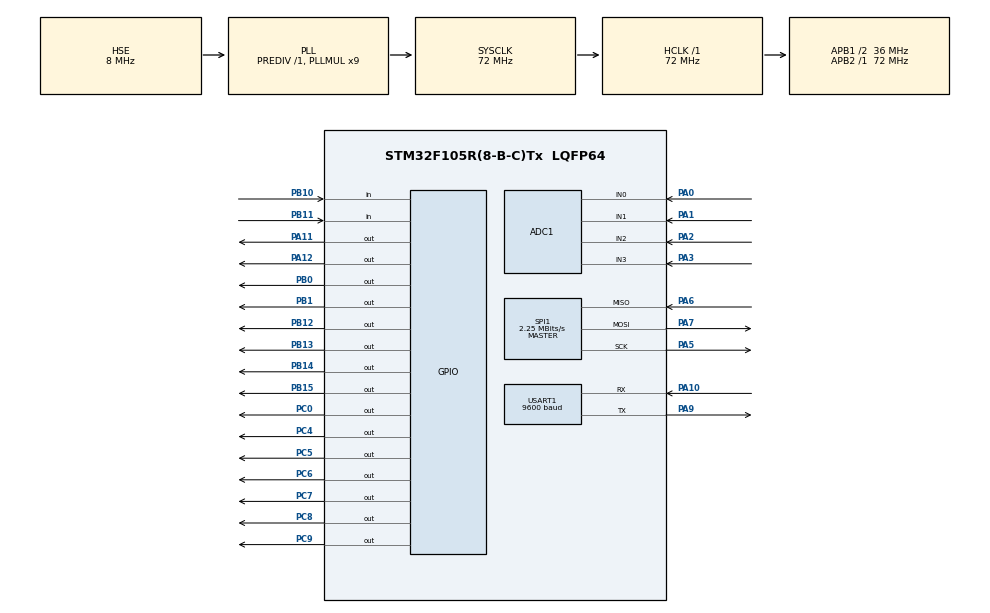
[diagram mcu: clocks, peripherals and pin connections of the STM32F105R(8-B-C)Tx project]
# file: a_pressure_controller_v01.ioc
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ADC1.Channel-5\#ChannelRegularConversion=ADC_CHANNEL_0
ADC1.Channel-6\#ChannelInjectedConversion=ADC_CHANNEL_0
ADC1.Channel-7\#ChannelInjectedConversion=ADC_CHANNEL_1
ADC1.Channel-8\#ChannelInjectedConversion=ADC_CHANNEL_2
ADC1.Channel-9\#ChannelInjectedConversion=ADC_CHANNEL_3
ADC1.EnableInjectedConversion=ENABLE
ADC1.InjNumberOfConversion=4
ADC1.InjectedOffset-6\#ChannelInjectedConversion=0
ADC1.InjectedOffset-7\#ChannelInjectedConversion=0
ADC1.InjectedOffset-8\#ChannelInjectedConversion=0
ADC1.InjectedOffset-9\#ChannelInjectedConversion=0
ADC1.NbrOfConversionFlag=1
ADC1.Rank-5\#ChannelRegularConversion=1
ADC1.Rank-6\#ChannelInjectedConversion=1
ADC1.Rank-7\#ChannelInjectedConversion=2
ADC1.Rank-8\#ChannelInjectedConversion=3
ADC1.Rank-9\#ChannelInjectedConversion=4
ADC1.SamplingTime-5\#ChannelRegularConversion=ADC_SAMPLETIME_1CYCLE_5
ADC1.SamplingTime-6\#ChannelInjectedConversion=ADC_SAMPLETIME_71CYCLES_5
ADC1.SamplingTime-7\#ChannelInjectedConversion=ADC_SAMPLETIME_71CYCLES_5
ADC1.SamplingTime-8\#ChannelInjectedConversion=ADC_SAMPLETIME_71CYCLES_5
ADC1.SamplingTime-9\#ChannelInjectedConversion=ADC_SAMPLETIME_71CYCLES_5
ADC1.master=1
Dma.Request0=USART1_TX
Dma.USART1_TX.0.Direction=DMA_MEMORY_TO_PERIPH
Dma.USART1_TX.0.Instance=DMA1_Channel4
Dma.USART1_TX.0.MemDataAlignment=DMA_MDATAALIGN_BYTE
Dma.USART1_TX.0.MemInc=DMA_MINC_ENABLE
Dma.USART1_TX.0.Mode=DMA_NORMAL
Dma.USART1_TX.0.PeriphDataAlignment=DMA_PDATAALIGN_BYTE
Dma.USART1_TX.0.PeriphInc=DMA_PINC_DISABLE
Dma.USART1_TX.0.Priority=DMA_PRIORITY_LOW
FREERTOS.Tasks01=defaultTask,0,128,StartDefaultTask,Default,NULL
FREERTOS.configTOTAL_HEAP_SIZE=20000
Mcu.Family=STM32F1
Mcu.Name=STM32F105R(8-B-C)Tx
Mcu.Package=LQFP64
NVIC.ADC1_2_IRQn=true\:5\:0\:false\:false\:true\:true\:true\:true
NVIC.DMA1_Channel4_IRQn=true\:5\:0\:false\:false\:true\:true\:false\:true
NVIC.PriorityGroup=NVIC_PRIORITYGROUP_4
NVIC.SPI1_IRQn=true\:5\:0\:false\:false\:true\:true\:true\:true
NVIC.USART1_IRQn=true\:5\:0\:false\:false\:true\:true\:true\:true
PA0-WKUP.Signal=ADCx_IN0
PA1.Signal=ADCx_IN1
PA10.Mode=Asynchronous
PA10.Signal=USART1_RX
PA11.GPIO_Speed=GPIO_SPEED_FREQ_MEDIUM
PA11.PinState=GPIO_PIN_SET
PA11.Signal=GPIO_Output
PA12.Signal=GPIO_Output
PA13.Mode=Serial_Wire
PA13.Signal=SYS_JTMS-SWDIO
PA14.Mode=Serial_Wire
PA14.Signal=SYS_JTCK-SWCLK
PA2.Signal=ADCx_IN2
PA3.Signal=ADCx_IN3
PA5.Mode=Full_Duplex_Master
PA5.Signal=SPI1_SCK
PA6.Mode=Full_Duplex_Master
PA6.Signal=SPI1_MISO
PA7.Mode=Full_Duplex_Master
PA7.Signal=SPI1_MOSI
PA9.Mode=Asynchronous
PA9.Signal=USART1_TX
PB0.PinState=GPIO_PIN_SET
PB0.Signal=GPIO_Output
PB1.PinState=GPIO_PIN_SET
PB1.Signal=GPIO_Output
PB10.Signal=GPIO_Input
PB11.Signal=GPIO_Input
PB12.GPIO_Speed=GPIO_SPEED_FREQ_MEDIUM
PB12.Signal=GPIO_Output
PB13.GPIO_Speed=GPIO_SPEED_FREQ_MEDIUM
PB13.Signal=GPIO_Output
PB14.GPIO_Speed=GPIO_SPEED_FREQ_MEDIUM
PB14.Signal=GPIO_Output
PB15.GPIO_Speed=GPIO_SPEED_FREQ_MEDIUM
PB15.Signal=GPIO_Output
PC0.GPIO_Speed=GPIO_SPEED_FREQ_MEDIUM
PC0.Signal=GPIO_Output
PC4.PinState=GPIO_PIN_SET
PC4.Signal=GPIO_Output
PC5.PinState=GPIO_PIN_SET
PC5.Signal=GPIO_Output
PC6.GPIO_Speed=GPIO_SPEED_FREQ_MEDIUM
PC6.Signal=GPIO_Output
PC7.GPIO_Speed=GPIO_SPEED_FREQ_MEDIUM
PC7.Signal=GPIO_Output
PC8.GPIO_Speed=GPIO_SPEED_FREQ_MEDIUM
PC8.Signal=GPIO_Output
PC9.GPIO_Speed=GPIO_SPEED_FREQ_MEDIUM
PC9.Signal=GPIO_Output
PD0-OSC_IN.Mode=HSE-External-Oscillator
PD0-OSC_IN.Signal=RCC_OSC_IN
PD1-OSC_OUT.Mode=HSE-External-Oscillator
PD1-OSC_OUT.Signal=RCC_OSC_OUT
ProjectManager.HeapSize=0x200
ProjectManager.StackSize=0x400
ProjectManager.TargetToolchain=TrueSTUDIO
RCC.ADCPresc=RCC_ADCPCLK2_DIV6
RCC.AHBFreq_Value=72000000
RCC.APB1CLKDivider=RCC_HCLK_DIV2
RCC.APB1Freq_Value=36000000
RCC.APB1TimFreq_Value=72000000
RCC.APB2Freq_Value=72000000
RCC.APB2TimFreq_Value=72000000
RCC.HCLKFreq_Value=72000000
RCC.PLLMUL=RCC_PLL_MUL9
RCC.PLLSourceVirtual=RCC_PLLSOURCE_HSE
RCC.SYSCLKFreq_VALUE=72000000
RCC.SYSCLKSource=RCC_SYSCLKSOURCE_PLLCLK
RCC.USBFreq_Value=48000000
SH.ADCx_IN0.0=ADC1_IN0,IN0
SH.ADCx_IN1.0=ADC1_IN1,IN1
SH.ADCx_IN2.0=ADC1_IN2,IN2
SH.ADCx_IN3.0=ADC1_IN3,IN3
SPI1.BaudRatePrescaler=SPI_BAUDRATEPRESCALER_32
SPI1.CalculateBaudRate=2.25 MBits/s
SPI1.Direction=SPI_DIRECTION_2LINES
SPI1.Mode=SPI_MODE_MASTER
SPI1.VirtualType=VM_MASTER
USART1.BaudRate=9600
USART1.VirtualMode=VM_ASYNC
VP_FREERTOS_VS_CMSIS_V1.Mode=CMSIS_V1
board=custom

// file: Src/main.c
/* USER CODE BEGIN Header */
/**
  ******************************************************************************
  * @file           : main.c
  * @brief          : Main program body
  ******************************************************************************
  * @attention
  *
  * <h2><center>&copy; Copyright (c) 2019 STMicroelectronics.
  * All rights reserved.</center></h2>
  *
  * This software component is licensed by ST under Ultimate Liberty license
  * SLA0044, the "License"; You may not use this file except in compliance with
  * the License. You may obtain a copy of the License at:
  *                             www.st.com/SLA0044
  *
  ******************************************************************************
  */
/* USER CODE END Header */

#include "main.h"
#include "cmsis_os.h"

/* USER CODE BEGIN Includes */
#include "structures.h"
#include "controllerInit.h"
#include "controllerUtils.h"

#include "eeprom_driver.h"
#include "flashFunctions.h"
/* USER CODE END Includes */

ADC_HandleTypeDef hadc1;

SPI_HandleTypeDef hspi1;

UART_HandleTypeDef huart1;
DMA_HandleTypeDef hdma_usart1_tx;

osThreadId defaultTaskHandle;
/* USER CODE BEGIN PV */
GPIO_TypeDef * UP_PORT[4] = {C1_UP_PORT, C2_UP_PORT, C3_UP_PORT, C4_UP_PORT};
uint32_t UP_PIN[4] = {C1_UP_PIN, C2_UP_PIN, C3_UP_PIN, C4_UP_PIN};
GPIO_TypeDef * DOWN_PORT[4] = {C1_DOWN_PORT, C2_DOWN_PORT, C3_DOWN_PORT, C4_DOWN_PORT};
uint32_t DOWN_PIN[4] = {C1_DOWN_PIN, C2_DOWN_PIN, C3_DOWN_PIN, C4_DOWN_PIN};

uint16_t ADCRawData[4];
uint16_t sensorValue[4];

char message[128] = {0};
uint8_t messageLength = 0;

uint8_t recCommandBuffer[MAX_COMMAND_LENGTH];
uint8_t p_recCommandBuffer = 0;
uint8_t recCommandByte;
uint8_t commandToProcessBuffer[MAX_COMMAND_LENGTH];
uint8_t p_commandToProcessBuffer;

xQueueHandle xRecCommandQueue;
xSemaphoreHandle xPressureCompensationSemaphore;
xSemaphoreHandle xSpiTxCompleteSemaphore;

/* USER CODE END PV */

void SystemClock_Config(void);
static void MX_GPIO_Init(void);
static void MX_DMA_Init(void);
static void MX_ADC1_Init(void);
static void MX_USART1_UART_Init(void);
static void MX_SPI1_Init(void);
void StartDefaultTask(void const * argument);

int main(void)
{

  /* MCU Configuration--------------------------------------------------------*/

  /* Reset of all peripherals, Initializes the Flash interface and the Systick. */
  HAL_Init();

  /* Configure the system clock */
  SystemClock_Config();

  /* Initialize all configured peripherals */
  MX_GPIO_Init();
  MX_DMA_Init();
  MX_ADC1_Init();
  MX_USART1_UART_Init();
  MX_SPI1_Init();
  /* USER CODE BEGIN 2 */
  HAL_Delay(2000);
  controller_init();
  /* USER CODE END 2 */

  /* Create the thread(s) */
  /* definition and creation of defaultTask */
//  osThreadDef(defaultTask, StartDefaultTask, osPriorityNormal, 0, 128);
//  defaultTaskHandle = osThreadCreate(osThread(defaultTask), NULL);

  /* Start scheduler */
  osKernelStart();

  /* We should never get here as control is now taken by the scheduler */
  /* Infinite loop */
  while (1)
  {

  }
}

void SystemClock_Config(void)
{
  RCC_OscInitTypeDef RCC_OscInitStruct = {0};
  RCC_ClkInitTypeDef RCC_ClkInitStruct = {0};
  RCC_PeriphCLKInitTypeDef PeriphClkInit = {0};

  /** Initializes the CPU, AHB and APB busses clocks
  */
  RCC_OscInitStruct.OscillatorType = RCC_OSCILLATORTYPE_HSE;
  RCC_OscInitStruct.HSEState = RCC_HSE_ON;
  RCC_OscInitStruct.HSEPredivValue = RCC_HSE_PREDIV_DIV1;
  RCC_OscInitStruct.HSIState = RCC_HSI_ON;
  RCC_OscInitStruct.Prediv1Source = RCC_PREDIV1_SOURCE_HSE;
  RCC_OscInitStruct.PLL.PLLState = RCC_PLL_ON;
  RCC_OscInitStruct.PLL.PLLSource = RCC_PLLSOURCE_HSE;
  RCC_OscInitStruct.PLL.PLLMUL = RCC_PLL_MUL9;
  RCC_OscInitStruct.PLL2.PLL2State = RCC_PLL_NONE;
  if (HAL_RCC_OscConfig(&RCC_OscInitStruct) != HAL_OK)
  {
    Error_Handler();
  }
  /** Initializes the CPU, AHB and APB busses clocks
  */
  RCC_ClkInitStruct.ClockType = RCC_CLOCKTYPE_HCLK|RCC_CLOCKTYPE_SYSCLK
                              |RCC_CLOCKTYPE_PCLK1|RCC_CLOCKTYPE_PCLK2;
  RCC_ClkInitStruct.SYSCLKSource = RCC_SYSCLKSOURCE_PLLCLK;
  RCC_ClkInitStruct.AHBCLKDivider = RCC_SYSCLK_DIV1;
  RCC_ClkInitStruct.APB1CLKDivider = RCC_HCLK_DIV2;
  RCC_ClkInitStruct.APB2CLKDivider = RCC_HCLK_DIV1;

  if (HAL_RCC_ClockConfig(&RCC_ClkInitStruct, FLASH_LATENCY_2) != HAL_OK)
  {
    Error_Handler();
  }
  PeriphClkInit.PeriphClockSelection = RCC_PERIPHCLK_ADC;
  PeriphClkInit.AdcClockSelection = RCC_ADCPCLK2_DIV6;
  if (HAL_RCCEx_PeriphCLKConfig(&PeriphClkInit) != HAL_OK)
  {
    Error_Handler();
  }
  /** Configure the Systick interrupt time
  */
  __HAL_RCC_PLLI2S_ENABLE();
}

static void MX_ADC1_Init(void)
{

  ADC_ChannelConfTypeDef sConfig = {0};
  ADC_InjectionConfTypeDef sConfigInjected = {0};

  /** Common config
  */
  hadc1.Instance = ADC1;
  hadc1.Init.ScanConvMode = ADC_SCAN_ENABLE;
  hadc1.Init.ContinuousConvMode = DISABLE;
  hadc1.Init.DiscontinuousConvMode = DISABLE;
  hadc1.Init.ExternalTrigConv = ADC_SOFTWARE_START;
  hadc1.Init.DataAlign = ADC_DATAALIGN_RIGHT;
  hadc1.Init.NbrOfConversion = 1;
  if (HAL_ADC_Init(&hadc1) != HAL_OK)
  {
    Error_Handler();
  }
  /** Configure Regular Channel
  */
  sConfig.Channel = ADC_CHANNEL_0;
  sConfig.Rank = ADC_REGULAR_RANK_1;
  sConfig.SamplingTime = ADC_SAMPLETIME_1CYCLE_5;
  if (HAL_ADC_ConfigChannel(&hadc1, &sConfig) != HAL_OK)
  {
    Error_Handler();
  }
  /** Configure Injected Channel
  */
  sConfigInjected.InjectedChannel = ADC_CHANNEL_0;
  sConfigInjected.InjectedRank = ADC_INJECTED_RANK_1;
  sConfigInjected.InjectedNbrOfConversion = 4;
  sConfigInjected.InjectedSamplingTime = ADC_SAMPLETIME_71CYCLES_5;
  sConfigInjected.ExternalTrigInjecConv = ADC_INJECTED_SOFTWARE_START;
  sConfigInjected.AutoInjectedConv = DISABLE;
  sConfigInjected.InjectedDiscontinuousConvMode = DISABLE;
  sConfigInjected.InjectedOffset = 0;
  if (HAL_ADCEx_InjectedConfigChannel(&hadc1, &sConfigInjected) != HAL_OK)
  {
    Error_Handler();
  }
  /** Configure Injected Channel
  */
  sConfigInjected.InjectedChannel = ADC_CHANNEL_1;
  sConfigInjected.InjectedRank = ADC_INJECTED_RANK_2;
  if (HAL_ADCEx_InjectedConfigChannel(&hadc1, &sConfigInjected) != HAL_OK)
  {
    Error_Handler();
  }
  /** Configure Injected Channel
  */
  sConfigInjected.InjectedChannel = ADC_CHANNEL_2;
  sConfigInjected.InjectedRank = ADC_INJECTED_RANK_3;
  if (HAL_ADCEx_InjectedConfigChannel(&hadc1, &sConfigInjected) != HAL_OK)
  {
    Error_Handler();
  }
  /** Configure Injected Channel
  */
  sConfigInjected.InjectedChannel = ADC_CHANNEL_3;
  sConfigInjected.InjectedRank = ADC_INJECTED_RANK_4;
  if (HAL_ADCEx_InjectedConfigChannel(&hadc1, &sConfigInjected) != HAL_OK)
  {
    Error_Handler();
  }

}

static void MX_SPI1_Init(void)
{

  /* SPI1 parameter configuration*/
  hspi1.Instance = SPI1;
  hspi1.Init.Mode = SPI_MODE_MASTER;
  hspi1.Init.Direction = SPI_DIRECTION_2LINES;
  hspi1.Init.DataSize = SPI_DATASIZE_8BIT;
  hspi1.Init.CLKPolarity = SPI_POLARITY_LOW;
  hspi1.Init.CLKPhase = SPI_PHASE_1EDGE;
  hspi1.Init.NSS = SPI_NSS_SOFT;
  hspi1.Init.BaudRatePrescaler = SPI_BAUDRATEPRESCALER_32;
  hspi1.Init.FirstBit = SPI_FIRSTBIT_MSB;
  hspi1.Init.TIMode = SPI_TIMODE_DISABLE;
  hspi1.Init.CRCCalculation = SPI_CRCCALCULATION_DISABLE;
  hspi1.Init.CRCPolynomial = 10;
  if (HAL_SPI_Init(&hspi1) != HAL_OK)
  {
    Error_Handler();
  }

}

static void MX_USART1_UART_Init(void)
{

  huart1.Instance = USART1;
  huart1.Init.BaudRate = 9600;
  huart1.Init.WordLength = UART_WORDLENGTH_8B;
  huart1.Init.StopBits = UART_STOPBITS_1;
  huart1.Init.Parity = UART_PARITY_NONE;
  huart1.Init.Mode = UART_MODE_TX_RX;
  huart1.Init.HwFlowCtl = UART_HWCONTROL_NONE;
  huart1.Init.OverSampling = UART_OVERSAMPLING_16;
  if (HAL_UART_Init(&huart1) != HAL_OK)
  {
    Error_Handler();
  }

}

static void MX_DMA_Init(void)
{

  /* DMA controller clock enable */
  __HAL_RCC_DMA1_CLK_ENABLE();

  /* DMA interrupt init */
  /* DMA1_Channel4_IRQn interrupt configuration */
  HAL_NVIC_SetPriority(DMA1_Channel4_IRQn, 5, 0);
  HAL_NVIC_EnableIRQ(DMA1_Channel4_IRQn);

}

static void MX_GPIO_Init(void)
{
  GPIO_InitTypeDef GPIO_InitStruct = {0};

  /* GPIO Ports Clock Enable */
  __HAL_RCC_GPIOD_CLK_ENABLE();
  __HAL_RCC_GPIOC_CLK_ENABLE();
  __HAL_RCC_GPIOA_CLK_ENABLE();
  __HAL_RCC_GPIOB_CLK_ENABLE();

  /*Configure GPIO pin Output Level */
  HAL_GPIO_WritePin(GPIOC, GPIO_PIN_0|GPIO_PIN_6|GPIO_PIN_7|GPIO_PIN_8
                          |GPIO_PIN_9, GPIO_PIN_RESET);

  /*Configure GPIO pin Output Level */
  HAL_GPIO_WritePin(GPIOC, GPIO_PIN_4|GPIO_PIN_5, GPIO_PIN_SET);

  /*Configure GPIO pin Output Level */
  HAL_GPIO_WritePin(GPIOB, GPIO_PIN_0|GPIO_PIN_1, GPIO_PIN_SET);

  /*Configure GPIO pin Output Level */
  HAL_GPIO_WritePin(GPIOB, GPIO_PIN_12|GPIO_PIN_13|GPIO_PIN_14|GPIO_PIN_15, GPIO_PIN_RESET);

  /*Configure GPIO pin Output Level */
  HAL_GPIO_WritePin(GPIOA, GPIO_PIN_11, GPIO_PIN_SET);

  /*Configure GPIO pin Output Level */
  HAL_GPIO_WritePin(GPIOA, GPIO_PIN_12, GPIO_PIN_RESET);

  /*Configure GPIO pins : PC0 PC6 PC7 PC8
                           PC9 */
  GPIO_InitStruct.Pin = GPIO_PIN_0|GPIO_PIN_6|GPIO_PIN_7|GPIO_PIN_8
                          |GPIO_PIN_9;
  GPIO_InitStruct.Mode = GPIO_MODE_OUTPUT_PP;
  GPIO_InitStruct.Pull = GPIO_NOPULL;
  GPIO_InitStruct.Speed = GPIO_SPEED_FREQ_MEDIUM;
  HAL_GPIO_Init(GPIOC, &GPIO_InitStruct);

  /*Configure GPIO pins : PC4 PC5 */
  GPIO_InitStruct.Pin = GPIO_PIN_4|GPIO_PIN_5;
  GPIO_InitStruct.Mode = GPIO_MODE_OUTPUT_PP;
  GPIO_InitStruct.Pull = GPIO_NOPULL;
  GPIO_InitStruct.Speed = GPIO_SPEED_FREQ_LOW;
  HAL_GPIO_Init(GPIOC, &GPIO_InitStruct);

  /*Configure GPIO pins : PB0 PB1 */
  GPIO_InitStruct.Pin = GPIO_PIN_0|GPIO_PIN_1;
  GPIO_InitStruct.Mode = GPIO_MODE_OUTPUT_PP;
  GPIO_InitStruct.Pull = GPIO_NOPULL;
  GPIO_InitStruct.Speed = GPIO_SPEED_FREQ_LOW;
  HAL_GPIO_Init(GPIOB, &GPIO_InitStruct);

  /*Configure GPIO pins : PB10 PB11 */
  GPIO_InitStruct.Pin = GPIO_PIN_10|GPIO_PIN_11;
  GPIO_InitStruct.Mode = GPIO_MODE_INPUT;
  GPIO_InitStruct.Pull = GPIO_NOPULL;
  HAL_GPIO_Init(GPIOB, &GPIO_InitStruct);

  /*Configure GPIO pins : PB12 PB13 PB14 PB15 */
  GPIO_InitStruct.Pin = GPIO_PIN_12|GPIO_PIN_13|GPIO_PIN_14|GPIO_PIN_15;
  GPIO_InitStruct.Mode = GPIO_MODE_OUTPUT_PP;
  GPIO_InitStruct.Pull = GPIO_NOPULL;
  GPIO_InitStruct.Speed = GPIO_SPEED_FREQ_MEDIUM;
  HAL_GPIO_Init(GPIOB, &GPIO_InitStruct);

  /*Configure GPIO pin : PA11 */
  GPIO_InitStruct.Pin = GPIO_PIN_11;
  GPIO_InitStruct.Mode = GPIO_MODE_OUTPUT_PP;
  GPIO_InitStruct.Pull = GPIO_NOPULL;
  GPIO_InitStruct.Speed = GPIO_SPEED_FREQ_MEDIUM;
  HAL_GPIO_Init(GPIOA, &GPIO_InitStruct);

  /*Configure GPIO pin : PA12 */
  GPIO_InitStruct.Pin = GPIO_PIN_12;
  GPIO_InitStruct.Mode = GPIO_MODE_OUTPUT_PP;
  GPIO_InitStruct.Pull = GPIO_NOPULL;
  GPIO_InitStruct.Speed = GPIO_SPEED_FREQ_LOW;
  HAL_GPIO_Init(GPIOA, &GPIO_InitStruct);

}

/* USER CODE BEGIN 4 */

//void HAL_SPI_TxCpltCallback(SPI_HandleTypeDef *spi){
//	BaseType_t xHigherPriorityTaskWoken;
//	xHigherPriorityTaskWoken = pdFALSE;
//	xSemaphoreGiveFromISR(xSpiTxCompleteSemaphore, &xHigherPriorityTaskWoken);
//}

void HAL_UART_RxCpltCallback(UART_HandleTypeDef *huart){
	if(huart->Instance == USART1){
		if (recCommandByte != '\r'){
			recCommandBuffer[p_recCommandBuffer] = recCommandByte;
			p_recCommandBuffer++;

			if (p_recCommandBuffer == MAX_COMMAND_LENGTH) p_recCommandBuffer = 0;

			if(recCommandByte == '\n'){
				memcpy(commandToProcessBuffer, recCommandBuffer, p_recCommandBuffer);
				portBASE_TYPE r1;
				xQueueSendToBackFromISR(xRecCommandQueue, &commandToProcessBuffer, &r1);
				p_recCommandBuffer = 0;
			}
		}

		HAL_UART_Receive_IT(&huart1, &recCommandByte, 1);
	}
}

void HAL_ADCEx_InjectedConvCpltCallback(ADC_HandleTypeDef* hadc1){
	if (hadc1->Instance == ADC1){
		  ADCRawData[0]=HAL_ADCEx_InjectedGetValue(hadc1,ADC_INJECTED_RANK_1);
		  ADCRawData[1]=HAL_ADCEx_InjectedGetValue(hadc1,ADC_INJECTED_RANK_2);
		  ADCRawData[2]=HAL_ADCEx_InjectedGetValue(hadc1,ADC_INJECTED_RANK_3);
		  ADCRawData[3]=HAL_ADCEx_InjectedGetValue(hadc1,ADC_INJECTED_RANK_4);
	}
//	if (hadc1->Instance == ADC2){
//		controllerState.currentSensVoltage = HAL_ADCEx_InjectedGetValue(hadc1, ADC_INJECTED_RANK_1);
//	}

}
/* USER CODE END 4 */

void StartDefaultTask(void const * argument)
{
  for(;;)
  {
    osDelay(1);
  }
}

void Error_Handler(void)
{
}

/************************ (C) COPYRIGHT STMicroelectronics *****END OF FILE****/
